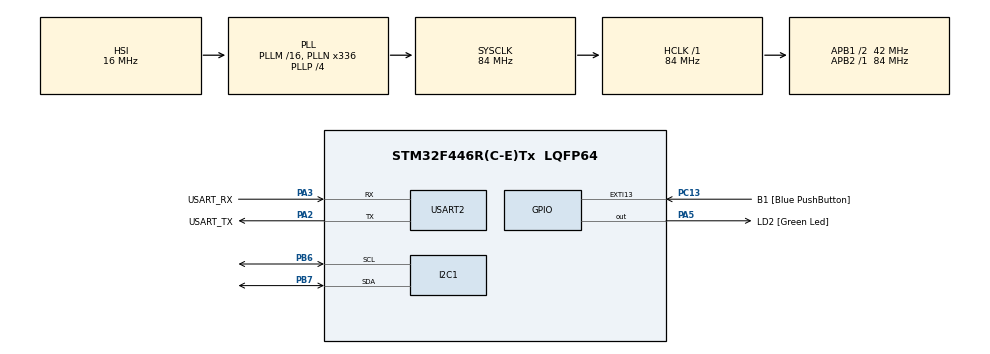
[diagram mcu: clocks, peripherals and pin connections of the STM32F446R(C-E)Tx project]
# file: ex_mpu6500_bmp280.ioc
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Dma.I2C1_RX.0.Direction=DMA_PERIPH_TO_MEMORY
Dma.I2C1_RX.0.FIFOMode=DMA_FIFOMODE_DISABLE
Dma.I2C1_RX.0.Instance=DMA1_Stream0
Dma.I2C1_RX.0.MemDataAlignment=DMA_MDATAALIGN_BYTE
Dma.I2C1_RX.0.MemInc=DMA_MINC_ENABLE
Dma.I2C1_RX.0.Mode=DMA_NORMAL
Dma.I2C1_RX.0.PeriphDataAlignment=DMA_PDATAALIGN_BYTE
Dma.I2C1_RX.0.PeriphInc=DMA_PINC_DISABLE
Dma.I2C1_RX.0.Priority=DMA_PRIORITY_LOW
Dma.I2C1_TX.1.Direction=DMA_MEMORY_TO_PERIPH
Dma.I2C1_TX.1.FIFOMode=DMA_FIFOMODE_DISABLE
Dma.I2C1_TX.1.Instance=DMA1_Stream6
Dma.I2C1_TX.1.MemDataAlignment=DMA_MDATAALIGN_BYTE
Dma.I2C1_TX.1.MemInc=DMA_MINC_ENABLE
Dma.I2C1_TX.1.Mode=DMA_NORMAL
Dma.I2C1_TX.1.PeriphDataAlignment=DMA_PDATAALIGN_BYTE
Dma.I2C1_TX.1.PeriphInc=DMA_PINC_DISABLE
Dma.I2C1_TX.1.Priority=DMA_PRIORITY_LOW
Dma.Request0=I2C1_RX
Dma.Request1=I2C1_TX
Mcu.Family=STM32F4
Mcu.Name=STM32F446R(C-E)Tx
Mcu.Package=LQFP64
NVIC.DMA1_Stream0_IRQn=true\:0\:0\:false\:false\:true\:false\:true\:true
NVIC.DMA1_Stream6_IRQn=true\:0\:0\:false\:false\:true\:false\:true\:true
NVIC.I2C1_ER_IRQn=true\:0\:0\:false\:false\:true\:true\:true\:true
NVIC.I2C1_EV_IRQn=true\:0\:0\:false\:false\:true\:true\:true\:true
NVIC.PriorityGroup=NVIC_PRIORITYGROUP_0
NVIC.TIM2_IRQn=true\:0\:0\:false\:false\:true\:true\:true\:true
NVIC.USART2_IRQn=true\:0\:0\:false\:false\:true\:true\:true\:true
PA13.GPIO_Label=TMS
PA13.Mode=Serial_Wire
PA13.Signal=SYS_JTMS-SWDIO
PA14.GPIO_Label=TCK
PA14.Mode=Serial_Wire
PA14.Signal=SYS_JTCK-SWCLK
PA2.GPIO_Label=USART_TX
PA2.Mode=Asynchronous
PA2.Signal=USART2_TX
PA3.GPIO_Label=USART_RX
PA3.Mode=Asynchronous
PA3.Signal=USART2_RX
PA5.GPIO_Label=LD2 [Green Led]
PA5.Signal=GPIO_Output
PB3.GPIO_Label=SWO
PB3.Signal=SYS_JTDO-SWO
PB6.Mode=I2C
PB6.Signal=I2C1_SCL
PB7.Mode=I2C
PB7.Signal=I2C1_SDA
PC13.GPIO_Label=B1 [Blue PushButton]
PC13.GPIO_ModeDefaultEXTI=GPIO_MODE_IT_FALLING
PC13.Signal=GPXTI13
PC14-OSC32_IN.Mode=LSE-External-Oscillator
PC14-OSC32_IN.Signal=RCC_OSC32_IN
PC15-OSC32_OUT.Mode=LSE-External-Oscillator
PC15-OSC32_OUT.Signal=RCC_OSC32_OUT
PH0-OSC_IN.Mode=HSE-External-Oscillator
PH0-OSC_IN.Signal=RCC_OSC_IN
PH1-OSC_OUT.Mode=HSE-External-Oscillator
PH1-OSC_OUT.Signal=RCC_OSC_OUT
ProjectManager.HeapSize=0x200
ProjectManager.StackSize=0x400
ProjectManager.TargetToolchain=STM32CubeIDE
RCC.48MHZClocksFreq_Value=84000000
RCC.AHBFreq_Value=84000000
RCC.APB1CLKDivider=RCC_HCLK_DIV2
RCC.APB1Freq_Value=42000000
RCC.APB1TimFreq_Value=84000000
RCC.APB2Freq_Value=84000000
RCC.APB2TimFreq_Value=84000000
RCC.CortexFreq_Value=84000000
RCC.FLatency-AdvancedSettings=FLASH_LATENCY_2
RCC.HCLKFreq_Value=84000000
RCC.HSE_VALUE=8000000
RCC.HSI_VALUE=16000000
RCC.PLLN=336
RCC.PLLP=RCC_PLLP_DIV4
RCC.SYSCLKFreq_VALUE=84000000
RCC.SYSCLKSource=RCC_SYSCLKSOURCE_PLLCLK
RCC.USBFreq_Value=168000000
RCC.VCOOutputFreq_Value=336000000
TIM2.Prescaler=84-1
USART2.VirtualMode=VM_ASYNC
VP_TIM2_VS_ClockSourceINT.Mode=Internal
board=NUCLEO-F446RE

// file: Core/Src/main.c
/* USER CODE BEGIN Header */
/**
  ******************************************************************************
  * @file           : main.c
  * @brief          : Main program body
  ******************************************************************************
  * @attention
  *
  * Copyright (c) 2024 STMicroelectronics.
  * All rights reserved.
  *
  * This software is licensed under terms that can be found in the LICENSE file
  * in the root directory of this software component.
  * If no LICENSE file comes with this software, it is provided AS-IS.
  *
  ******************************************************************************
  */
/* USER CODE END Header */
#include "main.h"

/* USER CODE BEGIN Includes */
#include "app_main.h"

/* USER CODE END Includes */

/* USER CODE BEGIN PD */
#define TASK_SIZE				6
#define TIMER_1MS_SIZE			1

//#define USE_POLLING
//#define USE_INTERRUPT
#define USE_DMA

/* USER CODE END PD */

I2C_HandleTypeDef hi2c1;
DMA_HandleTypeDef hdma_i2c1_rx;
DMA_HandleTypeDef hdma_i2c1_tx;

TIM_HandleTypeDef htim2;

UART_HandleTypeDef huart2;

/* USER CODE BEGIN PV */
static PifUart s_uart_log;

static uint16_t s_usLogTx;

/* USER CODE END PV */

void SystemClock_Config(void);
static void MX_GPIO_Init(void);
static void MX_DMA_Init(void);
static void MX_USART2_UART_Init(void);
static void MX_I2C1_Init(void);
static void MX_TIM2_Init(void);

/* USER CODE BEGIN 0 */
static uint32_t micros()
{
    return htim2.Instance->CNT;
}

static BOOL actLogStartTransfer(PifUart* p_uart)
{
	uint8_t *pucData, ucState;

	s_usLogTx = 0;
	ucState = pifUart_StartGetTxData(p_uart, &pucData, &s_usLogTx);
	if (ucState & PIF_UART_SEND_DATA_STATE_DATA) {
		HAL_UART_Transmit_IT(&huart2, pucData, s_usLogTx);
		return TRUE;
	}
	return FALSE;
}

void HAL_UART_TxCpltCallback(UART_HandleTypeDef *huart)
{
	uint8_t *pucData, ucState;

    if (huart->Instance == USART2) {
		ucState = pifUart_EndGetTxData(&s_uart_log, s_usLogTx);
		if (!(ucState & PIF_UART_SEND_DATA_STATE_EMPTY)) {
			s_usLogTx = 0;
			ucState = pifUart_StartGetTxData(&s_uart_log, &pucData, &s_usLogTx);
			if (ucState & PIF_UART_SEND_DATA_STATE_DATA) {
				HAL_UART_Transmit_IT(huart, pucData, s_usLogTx);
			}
		}
    }
}

static void actLedLState(PifId usPifId, uint32_t unState)
{
    (void)usPifId;

    HAL_GPIO_WritePin(GPIOA, LD2_Pin, unState & 1);
}

#ifdef USE_POLLING

static PifI2cReturn actI2cRead(PifI2cDevice *p_owner, uint32_t iaddr, uint8_t isize, uint8_t* p_data, size_t size)
{
	if (isize) {
		return (HAL_I2C_Mem_Read(&hi2c1, (p_owner->addr << 1) | 1, iaddr, isize, p_data, size, 1000) == HAL_OK) ? IR_COMPLETE : IR_ERROR;
	}
	else {
		return (HAL_I2C_Master_Receive(&hi2c1, (p_owner->addr << 1) | 1, p_data, size, 1000) == HAL_OK) ? IR_COMPLETE : IR_ERROR;
	}
}

static PifI2cReturn actI2cWrite(PifI2cDevice *p_owner, uint32_t iaddr, uint8_t isize, uint8_t* p_data, size_t size)
{
	if (isize) {
		return (HAL_I2C_Mem_Write(&hi2c1, p_owner->addr << 1, iaddr, isize, p_data, size, 1000) == HAL_OK) ? IR_COMPLETE : IR_ERROR;
	}
	else {
		return (HAL_I2C_Master_Transmit(&hi2c1, p_owner->addr << 1, p_data, size, 1000) == HAL_OK) ? IR_COMPLETE : IR_ERROR;
	}
}

#endif

#ifdef USE_INTERRUPT

static PifI2cReturn actI2cRead(PifI2cDevice *p_owner, uint32_t iaddr, uint8_t isize, uint8_t* p_data, size_t size)
{
	if (isize) {
		return (HAL_I2C_Mem_Read_IT(&hi2c1, (p_owner->addr << 1) | 1, iaddr, isize, p_data, size) == HAL_OK) ? IR_WAIT : IR_ERROR;
	}
	else {
		return (HAL_I2C_Master_Receive_IT(&hi2c1, (p_owner->addr << 1) | 1, p_data, size) == HAL_OK) ? IR_WAIT : IR_ERROR;
	}
}

static PifI2cReturn actI2cWrite(PifI2cDevice *p_owner, uint32_t iaddr, uint8_t isize, uint8_t* p_data, size_t size)
{
	if (isize) {
		return (HAL_I2C_Mem_Write_IT(&hi2c1, p_owner->addr << 1, iaddr, isize, p_data, size) == HAL_OK) ? IR_WAIT : IR_ERROR;
	}
	else {
		return (HAL_I2C_Master_Transmit_IT(&hi2c1, p_owner->addr << 1, p_data, size) == HAL_OK) ? IR_WAIT : IR_ERROR;
	}
}

#endif

#ifdef USE_DMA

static PifI2cReturn actI2cRead(PifI2cDevice *p_owner, uint32_t iaddr, uint8_t isize, uint8_t* p_data, size_t size)
{
	if (isize) {
		return (HAL_I2C_Mem_Read_DMA(&hi2c1, (p_owner->addr << 1) | 1, iaddr, isize, p_data, size) == HAL_OK) ? IR_WAIT : IR_ERROR;
	}
	else {
		return (HAL_I2C_Master_Receive_DMA(&hi2c1, (p_owner->addr << 1) | 1, p_data, size) == HAL_OK) ? IR_WAIT : IR_ERROR;
	}
}

static PifI2cReturn actI2cWrite(PifI2cDevice *p_owner, uint32_t iaddr, uint8_t isize, uint8_t* p_data, size_t size)
{
	if (isize) {
		return (HAL_I2C_Mem_Write_DMA(&hi2c1, p_owner->addr << 1, iaddr, isize, p_data, size) == HAL_OK) ? IR_WAIT : IR_ERROR;
	}
	else {
		return (HAL_I2C_Master_Transmit_DMA(&hi2c1, p_owner->addr << 1, p_data, size) == HAL_OK) ? IR_WAIT : IR_ERROR;
	}
}

#endif

#if defined(USE_INTERRUPT) || defined(USE_DMA)

void HAL_I2C_MasterRxCpltCallback(I2C_HandleTypeDef *hi2c)
{
	if (hi2c->Instance == I2C1) {
		pifI2cPort_sigEndTransfer(&g_i2c_port, TRUE);
	}
}

void HAL_I2C_MemRxCpltCallback(I2C_HandleTypeDef *hi2c)
{
	if (hi2c->Instance == I2C1) {
		pifI2cPort_sigEndTransfer(&g_i2c_port, TRUE);
	}
}

void HAL_I2C_MasterTxCpltCallback(I2C_HandleTypeDef *hi2c)
{
	if (hi2c->Instance == I2C1) {
		pifI2cPort_sigEndTransfer(&g_i2c_port, TRUE);
	}
}

void HAL_I2C_MemTxCpltCallback(I2C_HandleTypeDef *hi2c)
{
	if (hi2c->Instance == I2C1) {
		pifI2cPort_sigEndTransfer(&g_i2c_port, TRUE);
	}
}

#endif

/* USER CODE END 0 */

int main(void)
{

  /* MCU Configuration--------------------------------------------------------*/

  /* Reset of all peripherals, Initializes the Flash interface and the Systick. */
  HAL_Init();

  /* Configure the system clock */
  SystemClock_Config();

  /* Initialize all configured peripherals */
  MX_GPIO_Init();
  MX_DMA_Init();
  MX_USART2_UART_Init();
  MX_I2C1_Init();
  MX_TIM2_Init();
  /* USER CODE BEGIN 2 */
  HAL_TIM_IC_Start_IT(&htim2, TIM_CHANNEL_1);

  pif_Init(micros);

  if (!pifTaskManager_Init(TASK_SIZE, 1)) return -1;

  if (!pifTimerManager_Init(&g_timer_1ms, PIF_ID_AUTO, 1000, TIMER_1MS_SIZE)) return -1;	// 1000us

  if (!pifUart_Init(&s_uart_log, PIF_ID_AUTO, huart2.Init.BaudRate)) return -1;
  if (!pifUart_AttachTxTask(&s_uart_log, PIF_ID_AUTO, TM_EXTERNAL, 0, NULL)) return -1;
  if (!pifUart_AllocTxBuffer(&s_uart_log, 256)) return -1;
  s_uart_log.act_start_transfer = actLogStartTransfer;

  pifLog_Init();
  if (!pifLog_AttachUart(&s_uart_log, 256)) return -1;										// 256bytes

  if (!pifLed_Init(&g_led_l, PIF_ID_AUTO, 1, actLedLState)) return -1;

  if (!pifI2cPort_Init(&g_i2c_port, PIF_ID_AUTO, 3)) return -1;
  g_i2c_port.act_read = actI2cRead;
  g_i2c_port.act_write = actI2cWrite;

  pifLog_Print(LT_NONE, "\n\n****************************************\n");
  pifLog_Print(LT_NONE, "***             ex_gy86              ***\n");
  pifLog_Printf(LT_NONE, "***       %s %s       ***\n", __DATE__, __TIME__);
  pifLog_Print(LT_NONE, "****************************************\n");
  pifLog_Printf(LT_INFO, "Task=%d/%d Timer=%d/%d\n", pifTaskManager_Count(), TASK_SIZE, pifTimerManager_Count(&g_timer_1ms), TIMER_1MS_SIZE);

  if (!appSetup()) return -1;

  /* USER CODE END 2 */

  /* Infinite loop */
  /* USER CODE BEGIN WHILE */
  while (1)
  {
	pifTaskManager_Loop();
    /* USER CODE END WHILE */

  }
}

void SystemClock_Config(void)
{
  RCC_OscInitTypeDef RCC_OscInitStruct = {0};
  RCC_ClkInitTypeDef RCC_ClkInitStruct = {0};

  /** Configure the main internal regulator output voltage
  */
  __HAL_RCC_PWR_CLK_ENABLE();
  __HAL_PWR_VOLTAGESCALING_CONFIG(PWR_REGULATOR_VOLTAGE_SCALE3);

  /** Initializes the RCC Oscillators according to the specified parameters
  * in the RCC_OscInitTypeDef structure.
  */
  RCC_OscInitStruct.OscillatorType = RCC_OSCILLATORTYPE_HSI;
  RCC_OscInitStruct.HSIState = RCC_HSI_ON;
  RCC_OscInitStruct.HSICalibrationValue = RCC_HSICALIBRATION_DEFAULT;
  RCC_OscInitStruct.PLL.PLLState = RCC_PLL_ON;
  RCC_OscInitStruct.PLL.PLLSource = RCC_PLLSOURCE_HSI;
  RCC_OscInitStruct.PLL.PLLM = 16;
  RCC_OscInitStruct.PLL.PLLN = 336;
  RCC_OscInitStruct.PLL.PLLP = RCC_PLLP_DIV4;
  RCC_OscInitStruct.PLL.PLLQ = 2;
  RCC_OscInitStruct.PLL.PLLR = 2;
  if (HAL_RCC_OscConfig(&RCC_OscInitStruct) != HAL_OK)
  {
    Error_Handler();
  }

  /** Initializes the CPU, AHB and APB buses clocks
  */
  RCC_ClkInitStruct.ClockType = RCC_CLOCKTYPE_HCLK|RCC_CLOCKTYPE_SYSCLK
                              |RCC_CLOCKTYPE_PCLK1|RCC_CLOCKTYPE_PCLK2;
  RCC_ClkInitStruct.SYSCLKSource = RCC_SYSCLKSOURCE_PLLCLK;
  RCC_ClkInitStruct.AHBCLKDivider = RCC_SYSCLK_DIV1;
  RCC_ClkInitStruct.APB1CLKDivider = RCC_HCLK_DIV2;
  RCC_ClkInitStruct.APB2CLKDivider = RCC_HCLK_DIV1;

  if (HAL_RCC_ClockConfig(&RCC_ClkInitStruct, FLASH_LATENCY_2) != HAL_OK)
  {
    Error_Handler();
  }
}

static void MX_I2C1_Init(void)
{

  hi2c1.Instance = I2C1;
  hi2c1.Init.ClockSpeed = 100000;
  hi2c1.Init.DutyCycle = I2C_DUTYCYCLE_2;
  hi2c1.Init.OwnAddress1 = 0;
  hi2c1.Init.AddressingMode = I2C_ADDRESSINGMODE_7BIT;
  hi2c1.Init.DualAddressMode = I2C_DUALADDRESS_DISABLE;
  hi2c1.Init.OwnAddress2 = 0;
  hi2c1.Init.GeneralCallMode = I2C_GENERALCALL_DISABLE;
  hi2c1.Init.NoStretchMode = I2C_NOSTRETCH_DISABLE;
  if (HAL_I2C_Init(&hi2c1) != HAL_OK)
  {
    Error_Handler();
  }

}

static void MX_TIM2_Init(void)
{

  TIM_ClockConfigTypeDef sClockSourceConfig = {0};
  TIM_MasterConfigTypeDef sMasterConfig = {0};

  htim2.Instance = TIM2;
  htim2.Init.Prescaler = 84-1;
  htim2.Init.CounterMode = TIM_COUNTERMODE_UP;
  htim2.Init.Period = 4294967295;
  htim2.Init.ClockDivision = TIM_CLOCKDIVISION_DIV1;
  htim2.Init.AutoReloadPreload = TIM_AUTORELOAD_PRELOAD_DISABLE;
  if (HAL_TIM_Base_Init(&htim2) != HAL_OK)
  {
    Error_Handler();
  }
  sClockSourceConfig.ClockSource = TIM_CLOCKSOURCE_INTERNAL;
  if (HAL_TIM_ConfigClockSource(&htim2, &sClockSourceConfig) != HAL_OK)
  {
    Error_Handler();
  }
  sMasterConfig.MasterOutputTrigger = TIM_TRGO_RESET;
  sMasterConfig.MasterSlaveMode = TIM_MASTERSLAVEMODE_DISABLE;
  if (HAL_TIMEx_MasterConfigSynchronization(&htim2, &sMasterConfig) != HAL_OK)
  {
    Error_Handler();
  }

}

static void MX_USART2_UART_Init(void)
{

  huart2.Instance = USART2;
  huart2.Init.BaudRate = 115200;
  huart2.Init.WordLength = UART_WORDLENGTH_8B;
  huart2.Init.StopBits = UART_STOPBITS_1;
  huart2.Init.Parity = UART_PARITY_NONE;
  huart2.Init.Mode = UART_MODE_TX_RX;
  huart2.Init.HwFlowCtl = UART_HWCONTROL_NONE;
  huart2.Init.OverSampling = UART_OVERSAMPLING_16;
  if (HAL_UART_Init(&huart2) != HAL_OK)
  {
    Error_Handler();
  }

}

static void MX_DMA_Init(void)
{

  /* DMA controller clock enable */
  __HAL_RCC_DMA1_CLK_ENABLE();

  /* DMA interrupt init */
  /* DMA1_Stream0_IRQn interrupt configuration */
  HAL_NVIC_SetPriority(DMA1_Stream0_IRQn, 0, 0);
  HAL_NVIC_EnableIRQ(DMA1_Stream0_IRQn);
  /* DMA1_Stream6_IRQn interrupt configuration */
  HAL_NVIC_SetPriority(DMA1_Stream6_IRQn, 0, 0);
  HAL_NVIC_EnableIRQ(DMA1_Stream6_IRQn);

}

static void MX_GPIO_Init(void)
{
  GPIO_InitTypeDef GPIO_InitStruct = {0};

  /* GPIO Ports Clock Enable */
  __HAL_RCC_GPIOC_CLK_ENABLE();
  __HAL_RCC_GPIOH_CLK_ENABLE();
  __HAL_RCC_GPIOA_CLK_ENABLE();
  __HAL_RCC_GPIOB_CLK_ENABLE();

  /*Configure GPIO pin Output Level */
  HAL_GPIO_WritePin(LD2_GPIO_Port, LD2_Pin, GPIO_PIN_RESET);

  /*Configure GPIO pin : B1_Pin */
  GPIO_InitStruct.Pin = B1_Pin;
  GPIO_InitStruct.Mode = GPIO_MODE_IT_FALLING;
  GPIO_InitStruct.Pull = GPIO_NOPULL;
  HAL_GPIO_Init(B1_GPIO_Port, &GPIO_InitStruct);

  /*Configure GPIO pin : LD2_Pin */
  GPIO_InitStruct.Pin = LD2_Pin;
  GPIO_InitStruct.Mode = GPIO_MODE_OUTPUT_PP;
  GPIO_InitStruct.Pull = GPIO_NOPULL;
  GPIO_InitStruct.Speed = GPIO_SPEED_FREQ_LOW;
  HAL_GPIO_Init(LD2_GPIO_Port, &GPIO_InitStruct);

}

void Error_Handler(void)
{
  __disable_irq();
  while (1)
  {
  }
}
